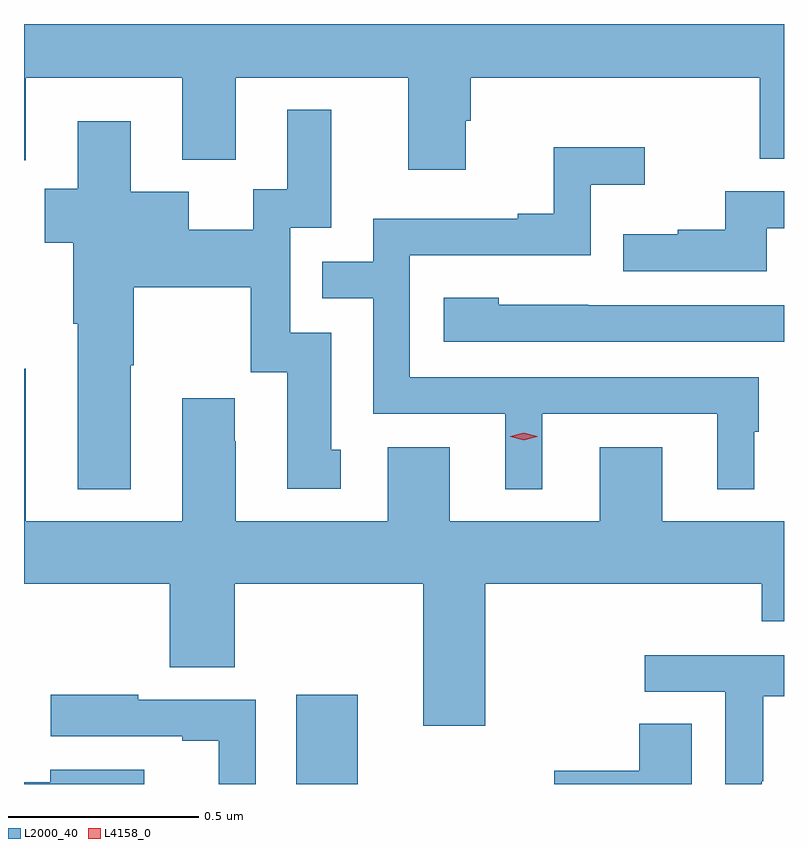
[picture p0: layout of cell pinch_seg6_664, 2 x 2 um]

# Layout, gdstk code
import gdstk
lib = gdstk.Library(unit=1e-6, precision=1e-09)
def R(c, l, rs):  # rectangles x0, y0, x1, y1
    for r in rs: c.add(gdstk.rectangle(r[:2], r[2:], *l))
def P(c, l, *ps):  # polygons
    for p in ps: c.add(gdstk.Polygon(p, *l))
L2000_40 = (2000, 40)
L4158_0 = (4158, 0)

pinch_seg6_664 = lib.new_cell('pinch_seg6_664')
R(pinch_seg6_664, L2000_40, [(440.399,948.141,440.56,948.376)])
P(pinch_seg6_664, L2000_40, [(440.845,949.887),(440.858,949.887),(440.858,950),(441.618,950),(441.618,949.786),(441.682,949.786),(441.682,950.141),(439.682,950.141),(439.682,949.782),(439.687,949.782),(439.687,950),(440.099,950),(440.099,949.784),(440.239,949.784),(440.239,950),(440.693,950),(440.693,949.758),(440.845,949.758)],
  [(439.963,949.243),(439.971,949.243),(439.971,949.448),(440.279,949.448),(440.279,949.224),(440.375,949.224),(440.375,948.918),(440.515,948.918),(440.515,949.02),(440.491,949.02),(440.491,949.329),(440.382,949.329),(440.382,949.605),(440.491,949.605),(440.491,949.915),(440.375,949.915),(440.375,949.706),(440.285,949.706),(440.285,949.6),(440.116,949.6),(440.116,949.699),(439.963,949.699),(439.963,949.885),(439.823,949.885),(439.823,949.707),(439.736,949.707),(439.736,949.565),(439.811,949.565),(439.811,949.352),(439.823,949.352),(439.823,948.917),(439.963,948.917)],
  [(441.046,949.116),(441.506,949.116),(441.506,948.917),(441.604,948.917),(441.604,949.068),(441.616,949.068),(441.616,949.212),(440.697,949.212),(440.697,949.533),(441.174,949.533),(441.174,949.718),(441.316,949.718),(441.316,949.817),(441.076,949.817),(441.076,949.642),(440.981,949.642),(440.981,949.629),(440.601,949.629),(440.601,949.515),(440.467,949.515),(440.467,949.419),(440.601,949.419),(440.601,949.116),(440.948,949.116),(440.948,948.917),(441.046,948.917)],
  [(441.637,949.604),(441.682,949.604),(441.682,949.701),(441.527,949.701),(441.527,949.6),(441.403,949.6),(441.403,949.588),(441.259,949.588),(441.259,949.491),(441.637,949.491)],
  [(441.682,949.401),(441.167,949.401),(441.167,949.402),(440.931,949.402),(440.931,949.42),(440.787,949.42),(440.787,949.305),(441.682,949.305)],
  [(439.682,949.234),(439.682,948.668),(440.066,948.668),(440.066,948.448),(440.237,948.448),(440.237,948.668),(440.732,948.668),(440.732,948.294),(440.896,948.294),(440.896,948.668),(441.623,948.668),(441.623,948.569),(441.682,948.569),(441.682,948.832),(441.361,948.832),(441.361,949.027),(441.197,949.027),(441.197,948.832),(440.803,948.832),(440.803,949.027),(440.639,949.027),(440.639,948.832),(440.239,948.832),(440.239,949.043),(440.236,949.043),(440.236,949.156),(440.099,949.156),(440.099,948.832),(439.687,948.832),(439.687,949.234)],
  [(441.624,948.148),(441.627,948.148),(441.627,948.372),(441.682,948.372),(441.682,948.48),(441.315,948.48),(441.315,948.384),(441.528,948.384),(441.528,948.141),(441.624,948.141)],
  [(440.292,948.363),(439.982,948.363),(439.982,948.376),(439.752,948.376),(439.752,948.267),(440.099,948.267),(440.099,948.255),(440.195,948.255),(440.195,948.141),(440.292,948.141)],
  [(441.439,948.299),(441.301,948.299),(441.301,948.176),(441.078,948.176),(441.078,948.141),(441.439,948.141)],
  [(439.999,948.178),(439.751,948.178),(439.751,948.145),(439.682,948.145),(439.682,948.141),(439.999,948.141)])
P(pinch_seg6_664, L4158_0, [(440.997,949.045),(440.961,949.055),(440.961,949.055),(440.961,949.056),(440.997,949.065),(441.033,949.056),(441.033,949.055),(441.033,949.055)])

lib.write_gds('pinch_seg6_664.gds')
